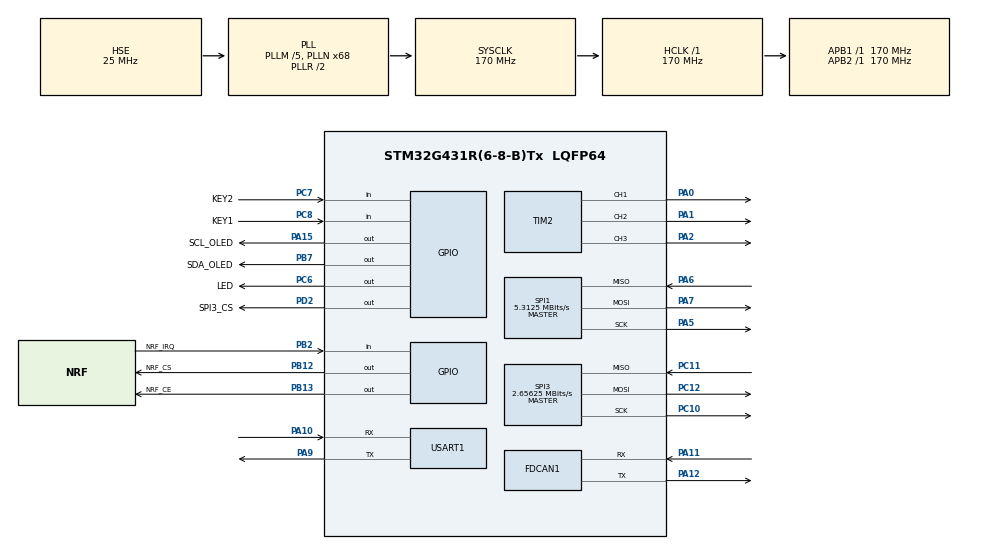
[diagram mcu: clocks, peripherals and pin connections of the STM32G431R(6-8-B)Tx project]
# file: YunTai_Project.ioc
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FDCAN1.CalculateBaudRateNominal=1000000
FDCAN1.CalculateTimeBitNominal=1000
FDCAN1.CalculateTimeQuantumNominal=100.0
FDCAN1.NominalPrescaler=17
FDCAN1.NominalTimeSeg1=8
FDCAN1.NominalTimeSeg2=1
FREERTOS.Queues01=IMU_Data_Queue,16,IMU_Data_t,0,Dynamic,NULL,NULL;Attitude_Data_Queue,16,Attitude_Data_t,0,Dynamic,NULL,NULL
FREERTOS.Tasks01=LED_Task,8,128,StartLED_Task,Default,NULL,Dynamic,NULL,NULL;OLED_Task,8,256,StartOLED_Task,Default,NULL,Dynamic,NULL,NULL;UART_Task,16,128,StartUART_Task,Default,NULL,Dynamic,NULL,NULL;CAN_Task,16,128,StartCAN_Task,Default,NULL,Dynamic,NULL,NULL;IMU_Task,40,128,StartIMU_Task,Default,NULL,Dynamic,NULL,NULL;Motor_Control_T,48,128,StartMotor_Control_Task,Default,NULL,Dynamic,NULL,NULL;Attitude_Task,24,128,StartAttitude_Task,Default,NULL,Dynamic,NULL,NULL;KEY_Task,8,128,StartKEY_Task,Default,NULL,Dynamic,NULL,NULL;NRF24_Task,8,128,StartNRF24_Task,Default,NULL,Dynamic,NULL,NULL
FREERTOS.configENABLE_FPU=1
FREERTOS.configTOTAL_HEAP_SIZE=20480
Mcu.Family=STM32G4
Mcu.Name=STM32G431R(6-8-B)Tx
Mcu.Package=LQFP64
NVIC.FDCAN1_IT0_IRQn=true\:5\:0\:false\:false\:true\:true\:true\:true\:true
NVIC.FDCAN1_IT1_IRQn=true\:5\:0\:false\:false\:true\:true\:true\:true\:true
NVIC.PriorityGroup=NVIC_PRIORITYGROUP_4
NVIC.TIM1_TRG_COM_TIM17_IRQn=true\:15\:0\:false\:false\:true\:false\:false\:true\:true
NVIC.TimeBase=TIM1_TRG_COM_TIM17_IRQn
NVIC.TimeBaseIP=TIM17
PA0.Signal=S_TIM2_CH1
PA1.Signal=S_TIM2_CH2
PA10.Mode=Asynchronous
PA10.Signal=USART1_RX
PA11.Mode=FDCAN_Activate
PA11.Signal=FDCAN1_RX
PA12.Mode=FDCAN_Activate
PA12.Signal=FDCAN1_TX
PA13.Mode=Serial_Wire
PA13.Signal=SYS_JTMS-SWDIO
PA14.Mode=Serial_Wire
PA14.Signal=SYS_JTCK-SWCLK
PA15.GPIO_Label=SCL_OLED
PA15.Signal=GPIO_Output
PA2.Signal=S_TIM2_CH3
PA5.Mode=Full_Duplex_Master
PA5.Signal=SPI1_SCK
PA6.Mode=Full_Duplex_Master
PA6.Signal=SPI1_MISO
PA7.Mode=Full_Duplex_Master
PA7.Signal=SPI1_MOSI
PA9.Mode=Asynchronous
PA9.Signal=USART1_TX
PB12.GPIO_Label=NRF_CS
PB12.Signal=GPIO_Output
PB13.GPIO_Label=NRF_CE
PB13.Signal=GPIO_Output
PB2.GPIO_Label=NRF_IRQ
PB2.Signal=GPIO_Input
PB7.GPIO_Label=SDA_OLED
PB7.Signal=GPIO_Output
PC10.Mode=Full_Duplex_Master
PC10.Signal=SPI3_SCK
PC11.Mode=Full_Duplex_Master
PC11.Signal=SPI3_MISO
PC12.Mode=Full_Duplex_Master
PC12.Signal=SPI3_MOSI
PC14-OSC32_IN.Mode=LSE-External-Oscillator
PC14-OSC32_IN.Signal=RCC_OSC32_IN
PC15-OSC32_OUT.Mode=LSE-External-Oscillator
PC15-OSC32_OUT.Signal=RCC_OSC32_OUT
PC6.GPIO_Label=LED
PC6.Signal=GPIO_Output
PC7.GPIO_Label=KEY2
PC7.Signal=GPIO_Input
PC8.GPIO_Label=KEY1
PC8.Signal=GPIO_Input
PD2.GPIO_Label=SPI3_CS
PD2.GPIO_PuPd=GPIO_NOPULL
PD2.PinState=GPIO_PIN_SET
PD2.Signal=GPIO_Output
PF0-OSC_IN.Mode=HSE-External-Oscillator
PF0-OSC_IN.Signal=RCC_OSC_IN
PF1-OSC_OUT.Mode=HSE-External-Oscillator
PF1-OSC_OUT.Signal=RCC_OSC_OUT
ProjectManager.HeapSize=0x200
ProjectManager.StackSize=0x400
ProjectManager.TargetToolchain=CMake
RCC.ADC12Freq_Value=170000000
RCC.AHBFreq_Value=170000000
RCC.APB1Freq_Value=170000000
RCC.APB1TimFreq_Value=170000000
RCC.APB2Freq_Value=170000000
RCC.APB2TimFreq_Value=170000000
RCC.CortexFreq_Value=170000000
RCC.EXTERNAL_CLOCK_VALUE=12288000
RCC.HCLKFreq_Value=170000000
RCC.HSE_VALUE=25000000
RCC.HSI48_VALUE=48000000
RCC.HSI_VALUE=16000000
RCC.PLLM=RCC_PLLM_DIV5
RCC.PLLN=68
RCC.PLLSourceVirtual=RCC_PLLSOURCE_HSE
RCC.SYSCLKFreq_VALUE=170000000
RCC.SYSCLKSource=RCC_SYSCLKSOURCE_PLLCLK
RCC.USBFreq_Value=170000000
RCC.VCOOutputFreq_Value=340000000
SH.S_TIM2_CH1.0=TIM2_CH1,PWM Generation1 CH1
SH.S_TIM2_CH2.0=TIM2_CH2,PWM Generation2 CH2
SH.S_TIM2_CH3.0=TIM2_CH3,PWM Generation3 CH3
SPI1.BaudRatePrescaler=SPI_BAUDRATEPRESCALER_32
SPI1.CalculateBaudRate=5.3125 MBits/s
SPI1.DataSize=SPI_DATASIZE_8BIT
SPI1.Direction=SPI_DIRECTION_2LINES
SPI1.Mode=SPI_MODE_MASTER
SPI1.VirtualType=VM_MASTER
SPI3.BaudRatePrescaler=SPI_BAUDRATEPRESCALER_64
SPI3.CLKPhase=SPI_PHASE_2EDGE
SPI3.CLKPolarity=SPI_POLARITY_HIGH
SPI3.CalculateBaudRate=2.65625 MBits/s
SPI3.DataSize=SPI_DATASIZE_8BIT
SPI3.Direction=SPI_DIRECTION_2LINES
SPI3.Mode=SPI_MODE_MASTER
SPI3.VirtualType=VM_MASTER
TIM2.Channel-PWM\ Generation1\ CH1=TIM_CHANNEL_1
TIM2.Channel-PWM\ Generation2\ CH2=TIM_CHANNEL_2
TIM2.Channel-PWM\ Generation3\ CH3=TIM_CHANNEL_3
USART1.VirtualMode-Asynchronous=VM_ASYNC
VP_FREERTOS_VS_CMSIS_V2.Mode=CMSIS_V2
VP_SYS_VS_DBSignals.Mode=DisableDeadBatterySignals
VP_SYS_VS_tim17.Mode=TIM17
VP_TIM2_VS_ClockSourceINT.Mode=Internal
board=custom

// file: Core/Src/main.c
/* USER CODE BEGIN Header */
/**
  ******************************************************************************
  * @file           : main.c
  * @brief          : Main program body
  ******************************************************************************
  * @attention
  *
  * Copyright (c) 2026 STMicroelectronics.
  * All rights reserved.
  *
  * This software is licensed under terms that can be found in the LICENSE file
  * in the root directory of this software component.
  * If no LICENSE file comes with this software, it is provided AS-IS.
  *
  ******************************************************************************
  */
/* USER CODE END Header */
#include "main.h"
#include "cmsis_os.h"
#include "fdcan.h"
#include "spi.h"
#include "tim.h"
#include "usart.h"
#include "gpio.h"

/* USER CODE BEGIN Includes */
#include "OLED.h"
#include "QD4310.h"
/* USER CODE END Includes */

/* USER CODE BEGIN PV */
QD4310_t Motor_0 = {.id = 0, .hfdcan= &hfdcan1}; // 初始化电机结构体，使用fdcan1外设，ID为0
QD4310_t Motor_1 = {.id = 1, .hfdcan= &hfdcan1}; // 初始化电机结构体，使用fdcan1外设，ID为1
QD4310_t Motor_2 = {.id = 2, .hfdcan= &hfdcan1}; // 初始化电机结构体，使用fdcan1外设，ID为2
extern QD4310_t Motor_0;
extern QD4310_t Motor_1;
extern QD4310_t Motor_2;
/* USER CODE END PV */

void SystemClock_Config(void);
void MX_FREERTOS_Init(void);

int main(void)
{

  /* MCU Configuration--------------------------------------------------------*/

  /* Reset of all peripherals, Initializes the Flash interface and the Systick. */
  HAL_Init();

  /* Configure the system clock */
  SystemClock_Config();

  /* Initialize all configured peripherals */
  MX_GPIO_Init();
  MX_FDCAN1_Init();
  MX_SPI1_Init();
  MX_TIM2_Init();
  MX_USART1_UART_Init();
  MX_SPI3_Init();
  /* USER CODE BEGIN 2 */

  // === FDCAN 初始化启动 ===
  FDCAN_FilterTypeDef sFilterConfig = {0};

  // 过滤器：接收所有ID
  sFilterConfig.IdType = FDCAN_STANDARD_ID;
  sFilterConfig.FilterIndex = 0;
  sFilterConfig.FilterType = FDCAN_FILTER_MASK;
  sFilterConfig.FilterConfig = FDCAN_FILTER_TO_RXFIFO0;
  sFilterConfig.FilterID1 = 0x000;
  sFilterConfig.FilterID2 = 0x000;

  if (HAL_FDCAN_ConfigFilter(&hfdcan1, &sFilterConfig) != HAL_OK) Error_Handler();

  // 启动 FDCAN
  if (HAL_FDCAN_Start(&hfdcan1) != HAL_OK) Error_Handler();

  // 开启接收中断
  if (HAL_FDCAN_ActivateNotification(&hfdcan1, FDCAN_IT_RX_FIFO0_NEW_MESSAGE, 0) != HAL_OK) Error_Handler();

  /* USER CODE END 2 */

  /* Init scheduler */
  osKernelInitialize();

  /* Call init function for freertos objects (in cmsis_os2.c) */
  MX_FREERTOS_Init();

  /* Start scheduler */
  osKernelStart();

  /* We should never get here as control is now taken by the scheduler */

  /* Infinite loop */
  while (1)
  {

  }
}

void SystemClock_Config(void)
{
  RCC_OscInitTypeDef RCC_OscInitStruct = {0};
  RCC_ClkInitTypeDef RCC_ClkInitStruct = {0};

  /** Configure the main internal regulator output voltage
  */
  HAL_PWREx_ControlVoltageScaling(PWR_REGULATOR_VOLTAGE_SCALE1_BOOST);

  /** Initializes the RCC Oscillators according to the specified parameters
  * in the RCC_OscInitTypeDef structure.
  */
  RCC_OscInitStruct.OscillatorType = RCC_OSCILLATORTYPE_HSE;
  RCC_OscInitStruct.HSEState = RCC_HSE_ON;
  RCC_OscInitStruct.PLL.PLLState = RCC_PLL_ON;
  RCC_OscInitStruct.PLL.PLLSource = RCC_PLLSOURCE_HSE;
  RCC_OscInitStruct.PLL.PLLM = RCC_PLLM_DIV5;
  RCC_OscInitStruct.PLL.PLLN = 68;
  RCC_OscInitStruct.PLL.PLLP = RCC_PLLP_DIV2;
  RCC_OscInitStruct.PLL.PLLQ = RCC_PLLQ_DIV2;
  RCC_OscInitStruct.PLL.PLLR = RCC_PLLR_DIV2;
  if (HAL_RCC_OscConfig(&RCC_OscInitStruct) != HAL_OK)
  {
    Error_Handler();
  }

  /** Initializes the CPU, AHB and APB buses clocks
  */
  RCC_ClkInitStruct.ClockType = RCC_CLOCKTYPE_HCLK|RCC_CLOCKTYPE_SYSCLK
                              |RCC_CLOCKTYPE_PCLK1|RCC_CLOCKTYPE_PCLK2;
  RCC_ClkInitStruct.SYSCLKSource = RCC_SYSCLKSOURCE_PLLCLK;
  RCC_ClkInitStruct.AHBCLKDivider = RCC_SYSCLK_DIV1;
  RCC_ClkInitStruct.APB1CLKDivider = RCC_HCLK_DIV1;
  RCC_ClkInitStruct.APB2CLKDivider = RCC_HCLK_DIV1;

  if (HAL_RCC_ClockConfig(&RCC_ClkInitStruct, FLASH_LATENCY_4) != HAL_OK)
  {
    Error_Handler();
  }
}

/* USER CODE BEGIN 4 */
// FDCAN 接收中断（自动解析电机数据）
void HAL_FDCAN_RxFifo0Callback(FDCAN_HandleTypeDef *hfdcan, uint32_t RxFifo0ITs)
{
    if((RxFifo0ITs & FDCAN_IT_RX_FIFO0_NEW_MESSAGE) != 0)
    {
        FDCAN_RxHeaderTypeDef RxHeader;
        uint8_t RxData[8];

        if(HAL_FDCAN_GetRxMessage(hfdcan, FDCAN_RX_FIFO0, &RxHeader, RxData) == HAL_OK)
        {
            // 自动匹配电机ID
            if(RxHeader.Identifier == 0x500 + Motor_0.id)
                QD4310_Update(&Motor_0, RxData);

            if(RxHeader.Identifier == 0x500 + Motor_1.id)
                QD4310_Update(&Motor_1, RxData);

            if(RxHeader.Identifier == 0x500 + Motor_2.id)
                QD4310_Update(&Motor_2, RxData);
        }
    }
}

/* USER CODE END 4 */

void HAL_TIM_PeriodElapsedCallback(TIM_HandleTypeDef *htim)
{
  if (htim->Instance == TIM17)
  {
    HAL_IncTick();
  }
}

void Error_Handler(void)
{
  __disable_irq();
  while (1)
  {
  }
}

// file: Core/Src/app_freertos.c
/* USER CODE BEGIN Header */
/**
  ******************************************************************************
  * File Name          : app_freertos.c
  * Description        : Code for freertos applications
  ******************************************************************************
  * @attention
  *
  * Copyright (c) 2026 STMicroelectronics.
  * All rights reserved.
  *
  * This software is licensed under terms that can be found in the LICENSE file
  * in the root directory of this software component.
  * If no LICENSE file comes with this software, it is provided AS-IS.
  *
  ******************************************************************************
  */
/* USER CODE END Header */

#include "FreeRTOS.h"
#include "task.h"
#include "main.h"
#include "cmsis_os.h"

/* USER CODE BEGIN Includes */
#include "cmsis_os2.h"
#include "niming.h"
#include "usart.h"
#include "OLED.h"
#include "QD4310.h"
#include "icm42688.h"
#include <math.h>       // 用于 sqrt, atan2, cos, sin
#include <string.h>     // 用于 memset
#include "imu_filter.h"
#include "motor_control.h"
#include "24l01.h"

/* USER CODE END Includes */

/* USER CODE BEGIN PTD */
typedef struct {
    float ax, ay, az;
    float gx, gy, gz;
} IMU_Data_t;

typedef struct {
    float roll;
    float pitch;
    float yaw;
} Attitude_Data_t;

// // Mahony 滤波器结构体
// typedef struct {
//     float q0, q1, q2, q3; // 四元数
//     float exInt, eyInt, ezInt; // 误差积分
//     float Kp, Ki;         // 增益参数
// } Mahony_Filter_t;

// // 简单 PID 结构体
// typedef struct {
//     float Kp, Ki, Kd;
//     float integral;
//     float last_error;
// } PID_TypeDef;
extern QD4310_t Motor_0;
extern QD4310_t Motor_1;
extern QD4310_t Motor_2;

#define KEY1_PORT   GPIOC
#define KEY1_PIN    GPIO_PIN_8
#define KEY2_PORT   GPIOC
#define KEY2_PIN    GPIO_PIN_7
/* USER CODE END PTD */

/* USER CODE BEGIN Variables */
// 电机PID输出（给CAN任务用）
// extern float motor0_out = 0.0f;
// extern float motor1_out = 0.0f;
// extern float motor2_out = 0.0f;

// === 无停止二次校准（在闭环中采集） ===
static uint8_t gyro_recalib_done = 0;
static uint32_t stable_start_time = 0;
static uint8_t calib_state = 0;      // 0:空闲, 1:采集中
static float calib_sum_gx = 0, calib_sum_gy = 0, calib_sum_gz = 0;
static uint16_t calib_count = 0;
#define CALIB_SAMPLE_NUM    500      // 采样次数（约200ms）
#define CALIB_GYRO_THRESH   2.0f     // 角速度阈值 dps
#define STABLE_THRESHOLD_DEG  0.5f     // 误差小于0.5°视为稳定
#define STABLE_DURATION_MS    2000     // 稳定持续5秒后触发校准
// 陀螺仪校准偏移
float gx_offset = 0, gy_offset = 0, gz_offset = 0;

char nrf_status[20] = "Init...";
uint32_t nrf_packets = 0;
uint8_t nrf_rx_data[8] = {0};  // 最近收到的前 8 字节
uint8_t nrf_online = 0;        // 0=离线, 1=在线

/* USER CODE END Variables */
/* Definitions for LED_Task */
osThreadId_t LED_TaskHandle;
const osThreadAttr_t LED_Task_attributes = {
  .name = "LED_Task",
  .priority = (osPriority_t) osPriorityLow,
  .stack_size = 128 * 4
};
/* Definitions for OLED_Task */
osThreadId_t OLED_TaskHandle;
const osThreadAttr_t OLED_Task_attributes = {
  .name = "OLED_Task",
  .priority = (osPriority_t) osPriorityLow,
  .stack_size = 256 * 4
};
/* Definitions for UART_Task */
osThreadId_t UART_TaskHandle;
const osThreadAttr_t UART_Task_attributes = {
  .name = "UART_Task",
  .priority = (osPriority_t) osPriorityBelowNormal,
  .stack_size = 128 * 4
};
/* Definitions for CAN_Task */
osThreadId_t CAN_TaskHandle;
const osThreadAttr_t CAN_Task_attributes = {
  .name = "CAN_Task",
  .priority = (osPriority_t) osPriorityBelowNormal,
  .stack_size = 128 * 4
};
/* Definitions for IMU_Task */
osThreadId_t IMU_TaskHandle;
const osThreadAttr_t IMU_Task_attributes = {
  .name = "IMU_Task",
  .priority = (osPriority_t) osPriorityHigh,
  .stack_size = 128 * 4
};
/* Definitions for Motor_Control_T */
osThreadId_t Motor_Control_THandle;
const osThreadAttr_t Motor_Control_T_attributes = {
  .name = "Motor_Control_T",
  .priority = (osPriority_t) osPriorityRealtime,
  .stack_size = 128 * 4
};
/* Definitions for Attitude_Task */
osThreadId_t Attitude_TaskHandle;
const osThreadAttr_t Attitude_Task_attributes = {
  .name = "Attitude_Task",
  .priority = (osPriority_t) osPriorityNormal,
  .stack_size = 128 * 4
};
/* Definitions for KEY_Task */
osThreadId_t KEY_TaskHandle;
const osThreadAttr_t KEY_Task_attributes = {
  .name = "KEY_Task",
  .priority = (osPriority_t) osPriorityLow,
  .stack_size = 128 * 4
};
/* Definitions for NRF24_Task */
osThreadId_t NRF24_TaskHandle;
const osThreadAttr_t NRF24_Task_attributes = {
  .name = "NRF24_Task",
  .priority = (osPriority_t) osPriorityLow,
  .stack_size = 128 * 4
};
/* Definitions for IMU_Data_Queue */
osMessageQueueId_t IMU_Data_QueueHandle;
const osMessageQueueAttr_t IMU_Data_Queue_attributes = {
  .name = "IMU_Data_Queue"
};
/* Definitions for Attitude_Data_Queue */
osMessageQueueId_t Attitude_Data_QueueHandle;
const osMessageQueueAttr_t Attitude_Data_Queue_attributes = {
  .name = "Attitude_Data_Queue"
};

void StartLED_Task(void *argument);
void StartOLED_Task(void *argument);
void StartUART_Task(void *argument);
void StartCAN_Task(void *argument);
void StartIMU_Task(void *argument);
void StartMotor_Control_Task(void *argument);
void StartAttitude_Task(void *argument);
void StartKEY_Task(void *argument);
void StartNRF24_Task(void *argument);

void MX_FREERTOS_Init(void); /* (MISRA C 2004 rule 8.1) */

void MX_FREERTOS_Init(void) {

  /* Create the queue(s) */
  /* creation of IMU_Data_Queue */
  IMU_Data_QueueHandle = osMessageQueueNew (16, sizeof(IMU_Data_t), &IMU_Data_Queue_attributes);

  /* creation of Attitude_Data_Queue */
  Attitude_Data_QueueHandle = osMessageQueueNew (16, sizeof(Attitude_Data_t), &Attitude_Data_Queue_attributes);

  /* Create the thread(s) */
  /* creation of LED_Task */
  LED_TaskHandle = osThreadNew(StartLED_Task, NULL, &LED_Task_attributes);

  /* creation of OLED_Task */
  OLED_TaskHandle = osThreadNew(StartOLED_Task, NULL, &OLED_Task_attributes);

  /* creation of UART_Task */
  UART_TaskHandle = osThreadNew(StartUART_Task, NULL, &UART_Task_attributes);

  /* creation of CAN_Task */
  CAN_TaskHandle = osThreadNew(StartCAN_Task, NULL, &CAN_Task_attributes);

  /* creation of IMU_Task */
  IMU_TaskHandle = osThreadNew(StartIMU_Task, NULL, &IMU_Task_attributes);

  /* creation of Motor_Control_T */
  Motor_Control_THandle = osThreadNew(StartMotor_Control_Task, NULL, &Motor_Control_T_attributes);

  /* creation of Attitude_Task */
  Attitude_TaskHandle = osThreadNew(StartAttitude_Task, NULL, &Attitude_Task_attributes);

  /* creation of KEY_Task */
  KEY_TaskHandle = osThreadNew(StartKEY_Task, NULL, &KEY_Task_attributes);

  /* creation of NRF24_Task */
  NRF24_TaskHandle = osThreadNew(StartNRF24_Task, NULL, &NRF24_Task_attributes);

}

void StartLED_Task(void *argument)
{
  /* USER CODE BEGIN StartLED_Task */
  /* Infinite loop */

  uint32_t led_tick = 0;
  const uint32_t LED_PERIOD_MS = 5000;
    for(;;)
    {
      // osDelay(100);                  // 100ms 周期
      // led_tick += 100;

      // if (led_tick >= LED_PERIOD_MS)
      // {
      //   led_tick = 0;
      //   HAL_GPIO_TogglePin(GPIOC, GPIO_PIN_6);
      // }
      osDelay(1000);
    }

  /* USER CODE END StartLED_Task */
}

void StartOLED_Task(void *argument)
{
  /* USER CODE BEGIN StartOLED_Task */
  OLED_Init();

  /* Infinite loop */
  for(;;)
  {
  osDelay(100);

  OLED_Clear();

  OLED_ShowString(0,0,"R:",OLED_8X16);
  OLED_ShowFloatNum(16,0,euler.roll,2,1,OLED_8X16);

  OLED_ShowString(0,16,"P:",OLED_8X16);
  OLED_ShowFloatNum(16,16,euler.pitch,2,1,OLED_8X16);

  OLED_ShowString(0,32,"Y:",OLED_8X16);
  OLED_ShowFloatNum(16,32,euler.yaw,2,1,OLED_8X16);

  // 显示 NRF24L01 状态和接收包数
OLED_ShowString(72,0,"NRF:",OLED_8X16);
OLED_ShowString(104,0,nrf_status,OLED_8X16);   // 显示状态
  // 刷新屏幕
  OLED_Update();
  }
  /* USER CODE END StartOLED_Task */
}

void StartUART_Task(void *argument)
{
  /* USER CODE BEGIN StartUART_Task */
  /* Infinite loop */
  for(;;)
  {
  Get_NMdata( euler.roll ,euler.pitch,euler.yaw);
  HAL_UART_Transmit(&huart1, BUFF, sizeof(BUFF), 10);
  osDelay(20);
  }
  /* USER CODE END StartUART_Task */
}

void StartCAN_Task(void *argument)
{
  /* USER CODE BEGIN StartCAN_Task */

//   motor1_out=55;
  /* Infinite loop */
  for(;;)
  {
  osDelay(200);

  }
  /* USER CODE END StartCAN_Task */
}

/* USER CODE BEGIN Header_StartIMU_Task */
//IMU校准函数
void Gyro_Calibrate(void)
{
    float sumgx=0, sumgy=0, sumgz=0;
    IMU_Data_t temp;
    for(int i=0;i<500;i++)
    {
        ICM42688_Read_All(&temp.ax,&temp.ay,&temp.az,&temp.gx,&temp.gy,&temp.gz);
        sumgx += temp.gx;
        sumgy += temp.gy;
        sumgz += temp.gz;
        osDelay(1);
    }
    gx_offset = sumgx/500;
    gy_offset = sumgy/500;
    gz_offset = sumgz/500;
}

/**
* @brief Function implementing the IMU_Task thread.
* @param argument: Not used
* @retval None
*/
/* USER CODE END Header_StartIMU_Task */
void StartIMU_Task(void *argument)
{
  /* USER CODE BEGIN StartIMU_Task */
  /* Infinite loop */
  IMU_Data_t imu_data;
  // 初始化IMU
  ICM42688_Init();
  Gyro_Calibrate();
  for(;;)
  {
    // 读取IMU数据
 if (ICM42688_Read_All(&imu_data.ax, &imu_data.ay, &imu_data.az,
                          &imu_data.gx, &imu_data.gy, &imu_data.gz) == 0)
    {
        // 只有读取成功才发送队列，避免发送垃圾数据
        osMessageQueuePut(IMU_Data_QueueHandle, &imu_data, 0, 0);
    }

    osDelay(1);
  }
  /* USER CODE END StartIMU_Task */
}

void StartMotor_Control_Task(void *argument)
{
  /* USER CODE BEGIN StartMotor_Control_Task */
  osDelay(500);
  Motor_Init_All();
  osDelay(100) ;
  /* Infinite loop */
  for(;;)
  {
// 1. 执行平衡解算 (计算 motor0/1/2_out)
  Motor_Balance_Control();

  // 2. 执行硬件限位保护 (修正 motor1/2_out)
  Motor_Speed_Limit_All();

  // 3. 发送最终指令给电机驱动
  // 注意：这里直接调用 QD4310_SetSpeed，因为我们已经优化了驱动为非阻塞
  QD4310_SetSpeed(&Motor_0, motor0_out);
  QD4310_SetSpeed(&Motor_1, motor1_out);
  QD4310_SetSpeed(&Motor_2, motor2_out);

  // 4. 精确延时，控制回路频率
  // osDelay(2) 意味着 500Hz 的控制频率
  osDelay(2);
  }
  /* USER CODE END StartMotor_Control_Task */
}

void StartAttitude_Task(void *argument)
{
  /* USER CODE BEGIN StartAttitude_Task */
  // osDelay(1000); // 等待系统稳定
  Mahony_Init(10.0f, 0.0f);
  IMU_Data_t imu;
  for(;;)
  {
      if(osMessageQueueGet(IMU_Data_QueueHandle, &imu, 0, osWaitForever) == osOK)
  {
        // 1. 减偏移
        float gx_raw = imu.gx - gx_offset;
        float gy_raw = imu.gy - gy_offset;
        float gz_raw = imu.gz - gz_offset;

        // ======================

        // ======================
        float gx = gx_raw / 16.4f;
        float gy = gy_raw / 16.4f;
        float gz = gz_raw / 8.2f; //出于某种未知原因输出的raw差了一倍，所以直接在这里加倍了

        // 姿态解算
        Mahony_Update(gx, gy, gz, imu.ax, imu.ay, imu.az);

        Quat_To_Euler();
        euler.roll=-euler.roll;
        euler.roll += 180.0f;
        if (euler.roll > 180.0f) euler.roll -= 360.0f;
        if (euler.roll < -180.0f) euler.roll += 360.0f;
        euler.pitch = -euler.pitch;

        // Yaw 处理：加 180 度并归一化到 -180~180
        euler.yaw += 180.0f;
        if (euler.yaw > 180.0f) euler.yaw -= 360.0f;
        if (euler.yaw < -180.0f) euler.yaw += 360.0f;

        // ========== 二次校准（无停电机） ==========
        if (Balance_Mode_Enable && !gyro_recalib_done)
        {
            // 阶段1：稳定检测
            if (calib_state == 0)
            {
                float err_roll  = fabsf(euler.roll - Target_Roll_Angle);

                float err_pitch = fabsf(euler.pitch - Target_Pitch_Angle);

                if (err_roll < STABLE_THRESHOLD_DEG && err_pitch < STABLE_THRESHOLD_DEG)
                {
                    if (stable_start_time == 0)
                        stable_start_time = osKernelGetTickCount();
                    else if ((osKernelGetTickCount() - stable_start_time) >= STABLE_DURATION_MS)
                    {
                        // 进入采集状态
                        calib_state = 1;
                        calib_sum_gx = calib_sum_gy = calib_sum_gz = 0;
                        calib_count = 0;
                        stable_start_time = 0;
                    }
                }
                else
                {
                    stable_start_time = 0;
                }
            }
            // 阶段2：采集原始陀螺仪数据（减当前偏移后仍接近0）
            else if (calib_state == 1)
            {
                // 获取原始物理值（dps），未经过偏移修正
                float raw_gx = imu.gx;   // ICM42688_Read_All 已经转为 dps，存在 imu.gx 中
                float raw_gy = imu.gy;
                float raw_gz = imu.gz;

                // 检查角速度是否足够小（说明云台基本静止）
                if (fabsf(raw_gx) < CALIB_GYRO_THRESH &&
                    fabsf(raw_gy) < CALIB_GYRO_THRESH &&
                    fabsf(raw_gz) < CALIB_GYRO_THRESH)
                {
                    calib_sum_gx += raw_gx;
                    calib_sum_gy += raw_gy;
                    calib_sum_gz += raw_gz;
                    calib_count++;
                }

                if (calib_count >= CALIB_SAMPLE_NUM)
                {
                    // 计算新的偏移量（取平均）
                    float new_gx_off = calib_sum_gx / CALIB_SAMPLE_NUM;
                    float new_gy_off = calib_sum_gy / CALIB_SAMPLE_NUM;
                    float new_gz_off = calib_sum_gz / CALIB_SAMPLE_NUM;

                    // 更新全局偏移
                    gx_offset = new_gx_off;
                    gy_offset = new_gy_off;
                    gz_offset = new_gz_off;

                    // 重置 Mahony 滤波器（清除累积误差）
                    Mahony_Init(15.0f, 0.0f);

                    // 标记完成
                    gyro_recalib_done = 1;
                    calib_state = 0;

                    // 串口输出提示
                    char msg[] = "\r\nGyro recalibrated without motor stop!\r\n";
                    HAL_UART_Transmit(&huart1, (uint8_t*)msg, strlen(msg), 100);
                }
            }
          }
      }
  }
  /* USER CODE END StartAttitude_Task */
}

void StartKEY_Task(void *argument)
{
  /* USER CODE BEGIN StartKEY_Task */
  /* Infinite loop */
 // 消抖状态机
  enum { KS_IDLE, KS_PRESS } key1_state = KS_IDLE, key2_state = KS_IDLE;
  uint32_t key1_timer = 0, key2_timer = 0;
  const uint32_t DEBOUNCE_MS = 50;
  const uint32_t LONG_PRESS_MS = 1000;

  for(;;)
  {
    osDelay(10);  // 10ms 扫描周期

   // ══════════ KEY1 扫描 ══════════
    GPIO_PinState k1 = HAL_GPIO_ReadPin(KEY1_PORT, KEY1_PIN);
    switch (key1_state)
    {
      case KS_IDLE:
        if (k1 == GPIO_PIN_RESET) {
          key1_state = KS_PRESS;
          key1_timer = 0;
        }
        break;

      case KS_PRESS:
        key1_timer += 10;
        if (k1 == GPIO_PIN_SET) {          // 释放
          if (key1_timer >= DEBOUNCE_MS && key1_timer < LONG_PRESS_MS) {
              // 直接用映射后的当前角度，不做任何转换
            float cur_roll  = euler.roll;
            float cur_pitch = euler.pitch;
            float cur_yaw   = euler.yaw - yaw_zero_offset;

              // 归一化 Yaw
              while (cur_yaw > 180.0f) cur_yaw -= 360.0f;
              while (cur_yaw < -180.0f) cur_yaw += 360.0f;

              Set_Target_Angles(cur_roll, cur_pitch, cur_yaw);
          }
          key1_state = KS_IDLE;
        }
        else if (key1_timer >= LONG_PRESS_MS) {
          key1_state = KS_IDLE;  // 长按暂不处理
        }
        break;
    }
    // ────────── KEY2 扫描 ──────────
    GPIO_PinState k2 = HAL_GPIO_ReadPin(KEY2_PORT, KEY2_PIN);
    switch (key2_state)
    {
      case KS_IDLE:
        if (k2 == GPIO_PIN_RESET) {
          key2_state = KS_PRESS;
          key2_timer = 0;
        }
        break;

      case KS_PRESS:
        key2_timer += 10;
        if (k2 == GPIO_PIN_SET) {
          if (key2_timer >= DEBOUNCE_MS && key2_timer < LONG_PRESS_MS) {
            // 短按：恢复默认角度（-6°, 0°, 0°）
            Set_Target_Angles(-6.0f, 0.0f, 0.0f);
          }
          key2_state = KS_IDLE;
        }
        else if (key2_timer >= LONG_PRESS_MS) {
          key2_state = KS_IDLE;
        }
        break;
    }
  }
  /* USER CODE END StartKEY_Task */
}

void StartNRF24_Task(void *argument)
{
  /* USER CODE BEGIN StartNRF24_Task */

 uint8_t rxbuf[32];

  // 初始化
  NRF24L01_CE_0;
  NRF24L01_CSN_1;
  osDelay(10);

  if (NRF24L01_Check() != 0)
  {
    strcpy(nrf_status, "FAIL");
    for(;;)
    {
      HAL_GPIO_TogglePin(GPIOC, GPIO_PIN_6);
      osDelay(100);
    }
  }

  strcpy(nrf_status, "OK");
  NRF24L01_RX_Mode();

  for(;;)
  {
    if (NRF24L01_IRQ == GPIO_PIN_RESET)
    {
      if (NRF24L01_RxPacket(rxbuf) == 0)
      {
        nrf_packets++;
        strcpy(nrf_status, "RX");
        HAL_GPIO_TogglePin(GPIOC, GPIO_PIN_6);
      }
    }
    osDelay(5);
  }
  /* USER CODE END StartNRF24_Task */
}
